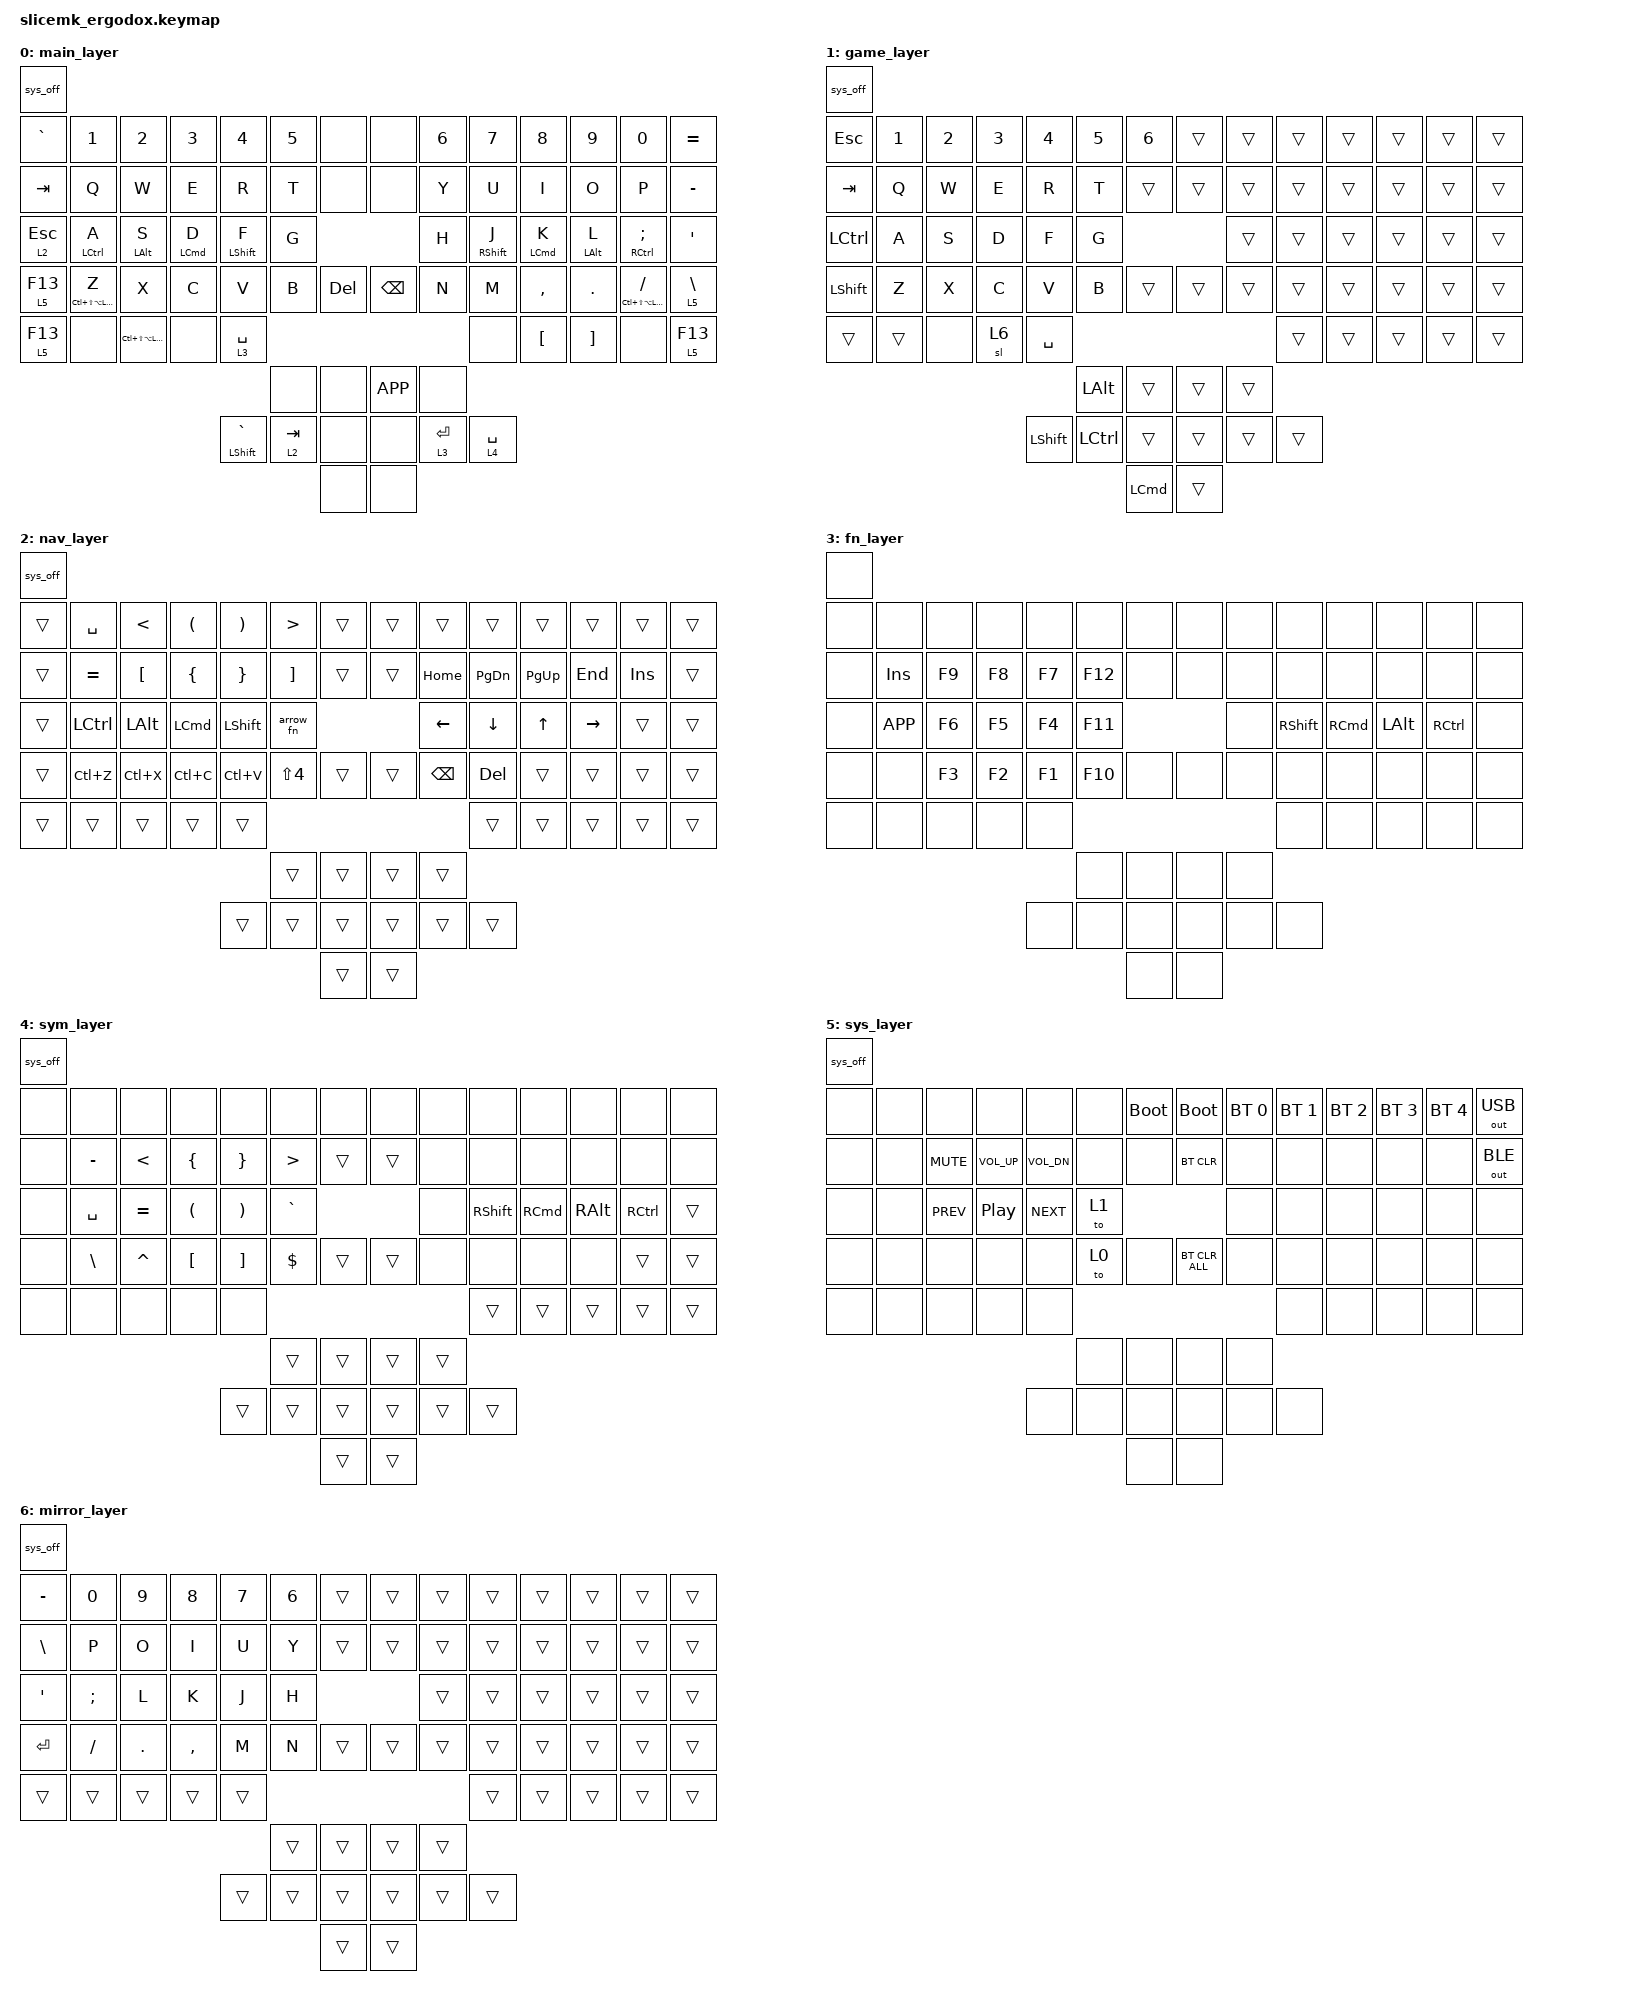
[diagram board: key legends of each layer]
#include <dt-bindings/zmk/mouse.h>
#include <behaviors.dtsi>
#include <dt-bindings/zmk/bt.h>
#include <dt-bindings/zmk/keys.h>
#include <dt-bindings/zmk/outputs.h>

/ {
    behaviors {
        thl: thl {
            compatible = "zmk,behavior-hold-tap";
            flavor = "balanced";
            hold-trigger-key-positions = <8 9 10 11 12 13 14 22 23 24 25 26 27 28 35 36 37 38 39 40 48 49 50 51 52 53 54 60 61 62 63 64 65 66 67 68 69 70 71 72 73 74 75 76>;
            hold-trigger-on-release;
            tapping-term-ms = <280>;
            quick-tap-ms = <220>;
            #binding-cells = <2>;
            bindings = <&kp>, <&kp>;
        };

        thr: thr {
            compatible = "zmk,behavior-hold-tap";
            flavor = "balanced";
            hold-trigger-key-positions = <1 2 3 4 5 6 7 15 16 17 18 19 20 21 29 30 31 32 33 34 41 42 43 44 45 46 47 55 56 57 58 59 65 66 67 68 69 70 71 72 73 74 75 76>;
            hold-trigger-on-release;
            tapping-term-ms = <280>;
            quick-tap-ms = <220>;
            #binding-cells = <2>;
            bindings = <&kp>, <&kp>;
        };

        mol: mol {
            compatible = "zmk,behavior-hold-tap";
            flavor = "hold-preferred";
            hold-trigger-key-positions = <8 9 10 11 12 13 14 22 23 24 25 26 27 28 35 36 37 38 39 40 48 49 50 51 52 53 54 60 61 62 63 64 65 66 67 68 69 70 71 72 73 74 75 76>;
            hold-trigger-on-release;
            tapping-term-ms = <200>;
            quick-tap-ms = <0>;
            #binding-cells = <2>;
            bindings = <&mo>, <&kp>;
        };

        mor: mor {
            compatible = "zmk,behavior-hold-tap";
            flavor = "hold-preferred";
            hold-trigger-key-positions = <1 2 3 4 5 6 7 15 16 17 18 19 20 21 29 30 31 32 33 34 41 42 43 44 45 46 47 55 56 57 58 59 65 66 67 68 69 70 71 72 73 74 75 76>;
            hold-trigger-on-release;
            tapping-term-ms = <200>;
            quick-tap-ms = <0>;
            #binding-cells = <2>;
            bindings = <&mo>, <&kp>;
        };
    };

    combos {
        compatible = "zmk,combos";

        combo_backspace {
            bindings = <&kp BACKSPACE>;
            key-positions = <24 25>;
            require-prior-idle-ms = <50>;
            timeout-ms = <50>;
        };

        combo_del {
            bindings = <&kp DELETE>;
            key-positions = <25 26>;
            require-prior-idle-ms = <50>;
            timeout-ms = <50>;
        };

        combo_lbrkt {
            bindings = <&kp LEFT_BRACKET>;
            key-positions = <50 51>;
            require-prior-idle-ms = <50>;
        };

        combo_rbrkt {
            bindings = <&kp RIGHT_BRACKET>;
            key-positions = <51 52>;
            require-prior-idle-ms = <50>;
        };

        combo_arrow_fn {
            bindings = <&arrow_fn>;
            key-positions = <44 45>;
            require-prior-idle-ms = <50>;
        };
    };

    macros {
        arrow: arrow {
            compatible = "zmk,behavior-macro";
            #binding-cells = <0>;
            bindings =
                <&macro_tap>,
                <&kp EQUAL>,
                <&macro_tap>,
                <&kp LS(PERIOD)>;
        };

        arrow_fn: arrow_fn {
            compatible = "zmk,behavior-macro";
            #binding-cells = <0>;
            bindings =
                <&macro_tap>,
                <&kp LS(NUMBER_9)>,
                <&macro_tap>,
                <&kp LS(NUMBER_0)>,
                <&macro_tap>,
                <&kp SPACE>,
                <&macro_tap>,
                <&kp EQUAL>,
                <&macro_tap>,
                <&kp LS(PERIOD)>,
                <&macro_tap>,
                <&kp SPACE>,
                <&macro_tap>,
                <&kp LS(LEFT_BRACKET)>,
                <&macro_tap>,
                <&kp LS(RIGHT_BRACKET)>;
        };
    };

    // &none              &kp NUMBER_1        &kp NUMBER_2        &kp NUMBER_3         &kp NUMBER_4          &kp NUMBER_5         &none            &none              &kp NUMBER_6    &kp NUMBER_7                         &kp NUMBER_8          &kp NUMBER_9         &kp NUMBER_0                 &kp MINUS

    keymap {
        compatible = "zmk,keymap";

        main_layer {
            bindings = <
&sys_off
&kp GRAVE      &kp N1                       &kp N2                &kp N3               &kp N4            &kp N5      &none         &none          &kp N6        &kp N7         &kp N8               &kp N9       &kp N0                           &kp EQUAL
&kp TAB        &kp Q                        &kp W                 &kp E                &kp R             &kp T       &none         &none          &kp Y         &kp U          &kp I                &kp O        &kp P                            &kp MINUS
&mol 2 ESCAPE  &thl LCTRL A                 &thl LALT S           &thl LEFT_COMMAND D  &thl LSHFT F      &kp G                                    &kp H         &thr RSHIFT J  &thr LEFT_COMMAND K  &thr LALT L  &thr RCTRL SEMICOLON             &kp SINGLE_QUOTE
&mol 5 F13     &thl LC(LS(LA(LEFT_GUI))) Z  &kp X                 &kp C                &kp V             &kp B       &kp DELETE    &kp BACKSPACE  &kp N         &kp M          &kp COMMA            &kp PERIOD   &thr LC(LS(LA(LEFT_GUI))) SLASH  &mor 5 BACKSLASH
&mol 5 F13     &none                        &kp LC(LS(LA(LGUI)))  &none                &mol 3 SPACE                                                             &none          &kp LBKT             &kp RBKT     &none                            &mor 5 F13
                                                                                                         &none       &none         &kp K_APP      &none
                                                                                       &mt LSHIFT GRAVE  &mol 2 TAB  &none         &none          &mor 3 ENTER  &mor 4 SPACE
                                                                                                                     &none         &none
            >;
        };

        game_layer {
            bindings = <
&sys_off
&kp ESCAPE  &kp N1  &kp N2  &kp N3  &kp N4          &kp N5     &kp N6      &trans  &trans  &trans  &trans  &trans  &trans  &trans
&kp TAB     &kp Q   &kp W   &kp E   &kp R           &kp T      &trans      &trans  &trans  &trans  &trans  &trans  &trans  &trans
&kp LCTRL   &kp A   &kp S   &kp D   &kp F           &kp G                          &trans  &trans  &trans  &trans  &trans  &trans
&kp LSHFT   &kp Z   &kp X   &kp C   &kp V           &kp B      &trans      &trans  &trans  &trans  &trans  &trans  &trans  &trans
&trans      &trans  &none   &sl 6   &kp SPACE                                              &trans  &trans  &trans  &trans  &trans
                                                    &kp LALT   &trans      &trans  &trans
                                    &kp LEFT_SHIFT  &kp LCTRL  &trans      &trans  &trans  &trans
                                                               &kp LCMD    &trans
            >;
        };

        nav_layer {
            bindings = <
&sys_off
&trans    &kp SPACE  &kp LESS_THAN  &kp LEFT_PARENTHESIS  &kp RIGHT_PARENTHESIS  &kp GREATER_THAN  &trans    &trans  &trans          &trans          &trans        &trans           &trans      &trans
&trans    &kp EQUAL  &kp LBKT       &kp LEFT_BRACE        &kp RIGHT_BRACE        &kp RBKT          &trans    &trans  &kp HOME        &kp PAGE_DOWN   &kp PAGE_UP   &kp END          &kp INSERT  &trans
&trans    &kp LCTRL  &kp LALT       &kp LEFT_COMMAND      &kp LSHFT              &arrow_fn                           &kp LEFT_ARROW  &kp DOWN_ARROW  &kp UP_ARROW  &kp RIGHT_ARROW  &trans      &trans
&trans    &kp LC(Z)  &kp LC(X)      &kp LC(C)             &kp LC(V)              &kp LS(N4)        &trans    &trans  &kp BACKSPACE   &kp DELETE      &trans        &trans           &trans      &trans
&trans    &trans     &trans         &trans                &trans                                                                     &trans          &trans        &trans           &trans      &trans
                                                                                 &trans            &trans    &trans  &trans
                                                          &trans                 &trans            &trans    &trans  &trans          &trans
                                                                                                   &trans    &trans
            >;
        };

        fn_layer {
            bindings = <
&none
&none  &none       &none   &none   &none   &none    &none    &none  &none  &none      &none              &none     &none      &none
&none  &kp INSERT  &kp F9  &kp F8  &kp F7  &kp F12  &none    &none  &none  &none      &none              &none     &none      &none
&none  &kp K_APP   &kp F6  &kp F5  &kp F4  &kp F11                  &none  &kp RSHFT  &kp RIGHT_COMMAND  &kp LALT  &kp RCTRL  &none
&none  &none       &kp F3  &kp F2  &kp F1  &kp F10  &none    &none  &none  &none      &none              &none     &none      &none
&none  &none       &none   &none   &none                                   &none      &none              &none     &none      &none
                                           &none    &none    &none  &none
                                   &none   &none    &none    &none  &none  &none
                                                    &none    &none
            >;
        };

        sym_layer {
            bindings = <
&sys_off
&none     &none          &none          &none                 &none                  &none             &none     &none   &none   &none            &none     &none          &none      &none
&none     &kp MINUS      &kp LESS_THAN  &kp LEFT_BRACE        &kp RIGHT_BRACE        &kp GREATER_THAN  &trans    &trans  &none   &none            &none     &none          &none      &none
&none     &kp SPACE      &kp EQUAL      &kp LEFT_PARENTHESIS  &kp RIGHT_PARENTHESIS  &kp GRAVE                           &none   &kp RIGHT_SHIFT  &kp RCMD  &kp RIGHT_ALT  &kp RCTRL  &trans
&none     &kp BACKSLASH  &kp CARET      &kp LEFT_BRACKET      &kp RIGHT_BRACKET      &kp DOLLAR        &trans    &trans  &none   &none            &none     &none          &trans     &trans
&none     &none          &none          &none                 &none                                                              &trans           &trans    &trans         &trans     &trans
                                                                                     &trans            &trans    &trans  &trans
                                                              &trans                 &trans            &trans    &trans  &trans  &trans
                                                                                                       &trans    &trans
            >;
        };

        sys_layer {
            bindings = <
&sys_off
&none     &none  &none       &none         &none         &none  &bootloader    &bootloader     &bt BT_SEL 0  &bt BT_SEL 1  &bt BT_SEL 2  &bt BT_SEL 3  &bt BT_SEL 4  &out OUT_USB
&none     &none  &kp C_MUTE  &kp C_VOL_UP  &kp C_VOL_DN  &none  &none          &bt BT_CLR      &none         &none         &none         &none         &none         &out OUT_BLE
&none     &none  &kp C_PREV  &kp C_PP      &kp C_NEXT    &to 1                                 &none         &none         &none         &none         &none         &none
&none     &none  &none       &none         &none         &to 0  &none          &bt BT_CLR_ALL  &none         &none         &none         &none         &none         &none
&none     &none  &none       &none         &none                                                             &none         &none         &none         &none         &none
                                                         &none  &none          &none           &none
                                           &none         &none  &none          &none           &none         &none
                                                                &none          &none
            >;
        };

        mirror_layer {
            bindings = <
&sys_off
&kp MINUS         &kp N0         &kp N9      &kp N8     &kp N7  &kp N6  &trans    &trans  &trans  &trans  &trans  &trans  &trans  &trans
&kp BACKSLASH     &kp P          &kp O       &kp I      &kp U   &kp Y   &trans    &trans  &trans  &trans  &trans  &trans  &trans  &trans
&kp SINGLE_QUOTE  &kp SEMICOLON  &kp L       &kp K      &kp J   &kp H                     &trans  &trans  &trans  &trans  &trans  &trans
&kp RETURN        &kp SLASH      &kp PERIOD  &kp COMMA  &kp M   &kp N   &trans    &trans  &trans  &trans  &trans  &trans  &trans  &trans
&trans            &trans         &trans      &trans     &trans                                    &trans  &trans  &trans  &trans  &trans
                                                                &trans  &trans    &trans  &trans
                                                        &trans  &trans  &trans    &trans  &trans  &trans
                                                                        &trans    &trans
            >;
        };
    };
};
